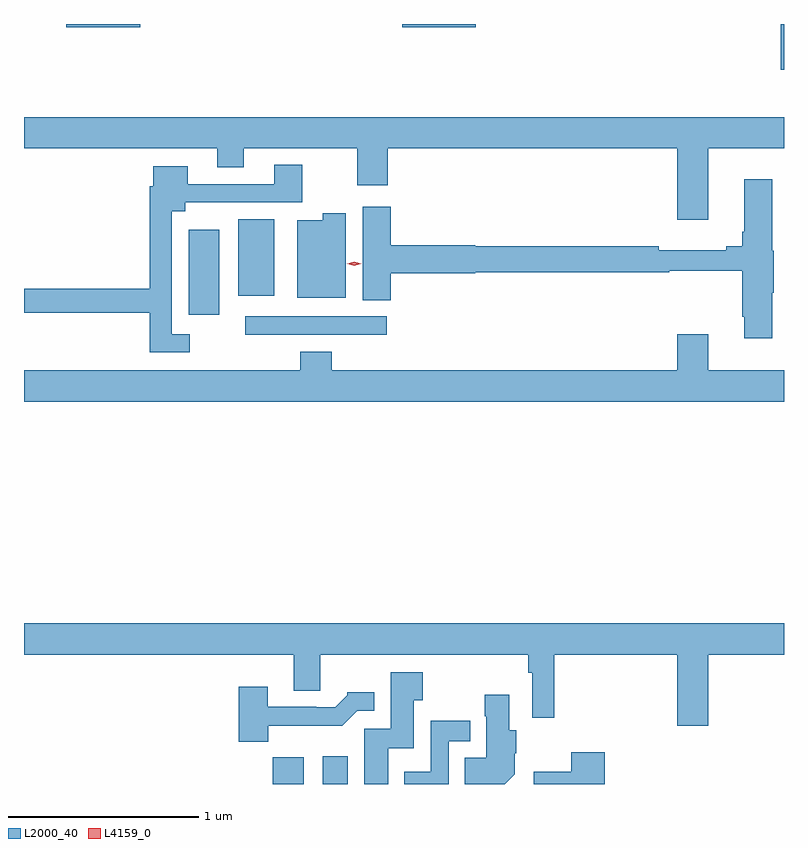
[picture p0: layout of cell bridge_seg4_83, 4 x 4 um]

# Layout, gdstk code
import gdstk
lib = gdstk.Library(unit=1e-6, precision=1e-09)
def R(c, l, rs):  # rectangles x0, y0, x1, y1
    for r in rs: c.add(gdstk.rectangle(r[:2], r[2:], *l))
def P(c, l, *ps):  # polygons
    for p in ps: c.add(gdstk.Polygon(p, *l))
L2000_40 = (2000, 40)
L4159_0 = (4159, 0)

bridge_seg4_83 = lib.new_cell('bridge_seg4_83')
R(bridge_seg4_83, L2000_40, [(438.604,806.795,438.766,806.935), (438.866,806.795,438.997,806.941), (438.459,809.16,439.204,809.256), (438.161,809.265,438.322,809.713), (438.422,809.366,438.61,809.767), (441.278,810.555,441.294,810.795), (437.516,810.778,437.905,810.795), (439.284,810.778,439.672,810.795)])
P(bridge_seg4_83, L2000_40, [(440.896,810.14),(441.294,810.14),(441.294,810.304),(437.294,810.304),(437.294,810.14),(438.311,810.14),(438.311,810.041),(438.451,810.041),(438.451,810.14),(439.048,810.14),(439.048,809.946),(439.208,809.946),(439.208,810.14),(440.732,810.14),(440.732,809.766),(440.896,809.766)],
  [(438.166,809.163),(438.072,809.163),(438.072,809.81),(438.142,809.81),(438.142,809.856),(438.759,809.856),(438.759,810.055),(438.611,810.055),(438.611,809.952),(438.157,809.952),(438.157,810.046),(437.975,810.046),(437.975,809.942),(437.956,809.942),(437.956,809.402),(437.294,809.402),(437.294,809.274),(437.956,809.274),(437.956,809.067),(438.166,809.067)],
  [(441.232,809.38),(441.24,809.38),(441.24,809.601),(441.232,809.601),(441.232,809.977),(441.086,809.977),(441.086,809.701),(441.074,809.701),(441.074,809.624),(440.99,809.624),(440.99,809.605),(440.636,809.605),(440.636,809.624),(439.668,809.624),(439.668,809.63),(439.223,809.63),(439.223,809.833),(439.076,809.833),(439.076,809.341),(439.223,809.341),(439.223,809.483),(439.668,809.483),(439.668,809.488),(440.69,809.488),(440.69,809.496),(441.074,809.496),(441.074,809.254),(441.086,809.254),(441.086,809.142),(441.232,809.142)],
  [(438.988,809.8),(438.866,809.8),(438.866,809.761),(438.731,809.761),(438.731,809.354),(438.988,809.354)],
  [(441.294,808.972),(440.896,808.972),(440.896,809.161),(440.732,809.161),(440.732,808.972),(438.914,808.972),(438.914,809.071),(438.749,809.071),(438.749,808.972),(437.294,808.972),(437.294,808.808),(441.294,808.808)],
  [(440.896,807.476),(441.294,807.476),(441.294,807.64),(437.294,807.64),(437.294,807.476),(438.713,807.476),(438.713,807.286),(438.853,807.286),(438.853,807.476),(439.948,807.476),(439.948,807.38),(439.968,807.38),(439.968,807.144),(440.084,807.144),(440.084,807.476),(440.732,807.476),(440.732,807.102),(440.896,807.102)],
  [(439.21,806.984),(439.345,806.984),(439.345,807.235),(439.392,807.235),(439.392,807.382),(439.223,807.382),(439.223,807.087),(439.085,807.087),(439.085,806.795),(439.21,806.795)],
  [(438.58,807.102),(438.969,807.102),(439.047,807.18),(439.138,807.18),(439.138,807.277),(438.996,807.277),(438.996,807.262),(438.932,807.198),(438.833,807.198),(438.833,807.201),(438.577,807.201),(438.577,807.307),(438.425,807.307),(438.425,807.017),(438.58,807.017)],
  [(439.876,806.846),(439.876,806.956),(439.884,806.956),(439.884,807.078),(439.849,807.078),(439.849,807.265),(439.72,807.265),(439.72,807.152),(439.727,807.152),(439.727,806.932),(439.615,806.932),(439.615,806.795),(439.825,806.795)],
  [(439.53,807.021),(439.642,807.021),(439.642,807.129),(439.434,807.129),(439.434,806.86),(439.295,806.86),(439.295,806.795),(439.53,806.795)],
  [(440.351,806.962),(440.173,806.962),(440.173,806.86),(439.976,806.86),(439.976,806.795),(440.351,806.795)])
P(bridge_seg4_83, L4159_0, [(439.033,809.523),(438.995,809.533),(438.995,809.533),(438.995,809.534),(439.033,809.543),(439.07,809.533),(439.07,809.533),(439.07,809.533)])

lib.write_gds('bridge_seg4_83.gds')
